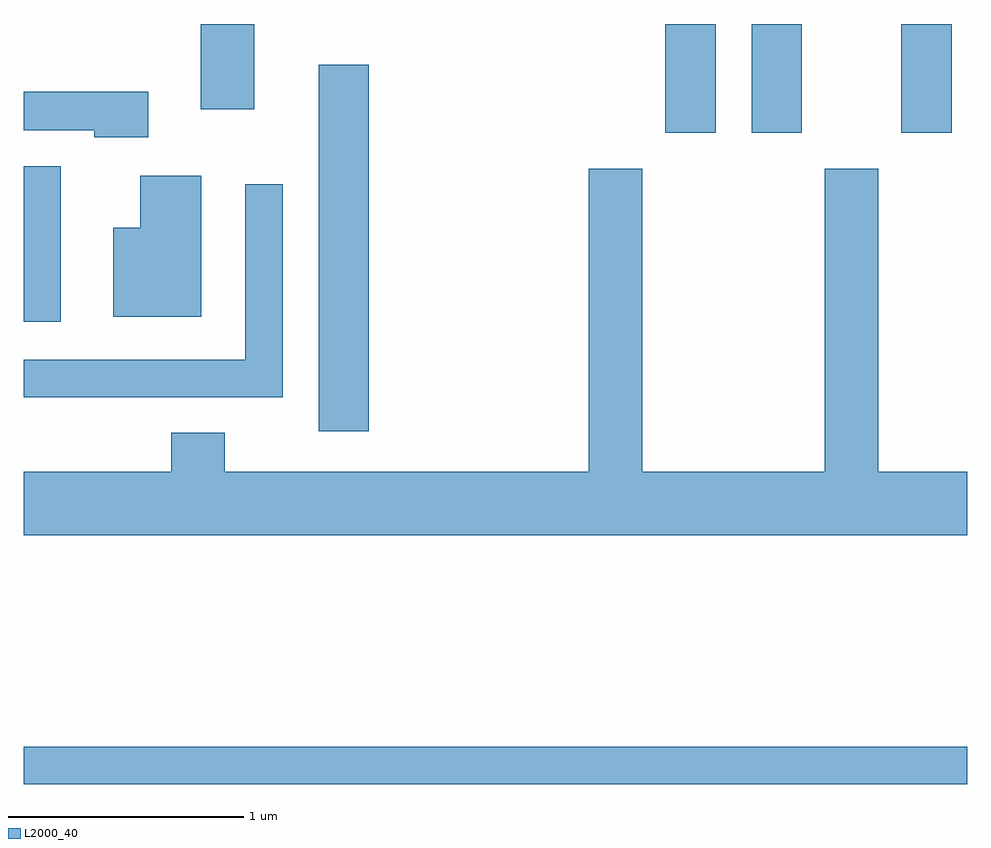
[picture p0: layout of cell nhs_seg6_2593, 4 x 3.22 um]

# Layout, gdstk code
import gdstk
lib = gdstk.Library(unit=1e-6, precision=1e-09)
def R(c, l, rs):  # rectangles x0, y0, x1, y1
    for r in rs: c.add(gdstk.rectangle(r[:2], r[2:], *l))
def P(c, l, *ps):  # polygons
    for p in ps: c.add(gdstk.Polygon(p, *l))
L2000_40 = (2000, 40)

nhs_seg6_2593 = lib.new_cell('nhs_seg6_2593')
R(nhs_seg6_2593, L2000_40, [(263.611,1588.941,267.611,1589.099), (264.861,1590.436,265.074,1591.989), (263.611,1590.901,263.769,1591.559), (266.331,1591.701,266.544,1592.162), (266.696,1591.701,266.909,1592.162), (267.331,1591.701,267.544,1592.162), (264.361,1591.801,264.589,1592.162)])
P(nhs_seg6_2593, L2000_40, [(264.139,1591.874),(263.611,1591.874),(263.611,1591.711),(263.911,1591.711),(263.911,1591.681),(264.139,1591.681)],
  [(267.611,1590.264),(267.234,1590.264),(267.234,1591.549),(267.006,1591.549),(267.006,1590.264),(266.234,1590.264),(266.234,1591.549),(266.006,1591.549),(266.006,1590.264),(264.464,1590.264),(264.464,1590.429),(264.236,1590.429),(264.236,1590.264),(263.611,1590.264),(263.611,1589.996),(267.611,1589.996)],
  [(264.364,1591.519),(264.106,1591.519),(264.106,1591.299),(263.991,1591.299),(263.991,1590.921),(264.364,1590.921)],
  [(264.709,1591.483),(264.551,1591.483),(264.551,1590.739),(263.611,1590.739),(263.611,1590.581),(264.709,1590.581)])

lib.write_gds('nhs_seg6_2593.gds')
